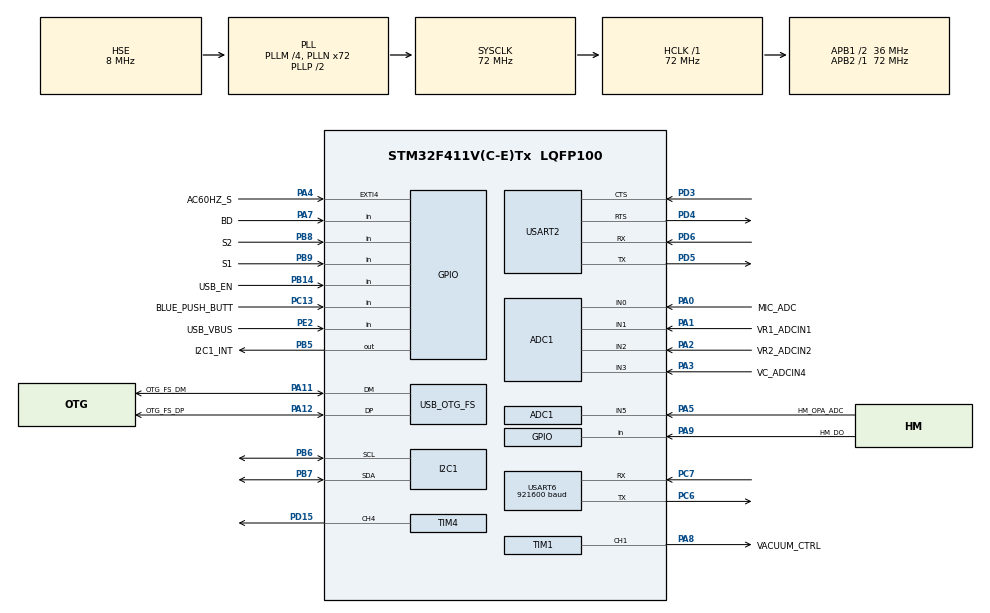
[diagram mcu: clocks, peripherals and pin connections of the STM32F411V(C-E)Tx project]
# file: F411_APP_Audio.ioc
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ADC1.Channel-4\#ChannelRegularConversion=ADC_CHANNEL_0
ADC1.ContinuousConvMode=DISABLE
ADC1.DMAContinuousRequests=ENABLE
ADC1.ExternalTrigConv=ADC_EXTERNALTRIGCONV_T4_CC4
ADC1.NbrOfConversionFlag=1
ADC1.Rank-4\#ChannelRegularConversion=1
ADC1.SamplingTime-4\#ChannelRegularConversion=ADC_SAMPLETIME_3CYCLES
ADC1.master=1
Dma.ADC1.0.Direction=DMA_PERIPH_TO_MEMORY
Dma.ADC1.0.FIFOMode=DMA_FIFOMODE_DISABLE
Dma.ADC1.0.Instance=DMA2_Stream0
Dma.ADC1.0.MemDataAlignment=DMA_MDATAALIGN_HALFWORD
Dma.ADC1.0.MemInc=DMA_MINC_ENABLE
Dma.ADC1.0.Mode=DMA_CIRCULAR
Dma.ADC1.0.PeriphDataAlignment=DMA_PDATAALIGN_HALFWORD
Dma.ADC1.0.PeriphInc=DMA_PINC_DISABLE
Dma.ADC1.0.Priority=DMA_PRIORITY_LOW
Dma.Request0=ADC1
Mcu.Family=STM32F4
Mcu.Name=STM32F411V(C-E)Tx
Mcu.Package=LQFP100
NVIC.DMA2_Stream0_IRQn=true\:0\:0\:false\:false\:true\:false\:true\:true
NVIC.OTG_FS_IRQn=true\:0\:0\:false\:false\:true\:false\:true\:true
NVIC.PriorityGroup=NVIC_PRIORITYGROUP_0
NVIC.TIM4_IRQn=true\:0\:0\:false\:false\:true\:true\:true\:true
PA0-WKUP.GPIO_Label=MIC_ADC
PA0-WKUP.Signal=ADCx_IN0
PA1.GPIO_Label=VR1_ADCIN1
PA1.Signal=ADCx_IN1
PA11.GPIO_Label=OTG_FS_DM
PA11.Mode=Device_Only
PA11.Signal=USB_OTG_FS_DM
PA12.GPIO_Label=OTG_FS_DP
PA12.Mode=Device_Only
PA12.Signal=USB_OTG_FS_DP
PA13.GPIO_Label=SWDIO
PA13.Mode=Serial_Wire
PA13.Signal=SYS_JTMS-SWDIO
PA14.GPIO_Label=SWCLK
PA14.Mode=Serial_Wire
PA14.Signal=SYS_JTCK-SWCLK
PA2.GPIO_Label=VR2_ADCIN2
PA2.Signal=ADCx_IN2
PA3.GPIO_Label=VC_ADCIN4
PA3.Signal=ADCx_IN3
PA4.GPIO_Label=AC60HZ_S
PA4.Signal=GPXTI4
PA5.GPIO_Label=HM_OPA_ADC
PA5.Signal=ADCx_IN5
PA7.GPIO_Label=BD
PA7.Signal=GPIO_Input
PA8.GPIO_Label=VACUUM_CTRL
PA8.Signal=S_TIM1_CH1
PA9.GPIO_Label=HM_DO
PA9.Signal=GPIO_Input
PB14.GPIO_Label=USB_EN
PB14.GPIO_PuPd=GPIO_PULLUP
PB14.Signal=GPIO_Input
PB3.GPIO_Label=SWO
PB3.Signal=SYS_JTDO-SWO
PB5.GPIO_Label=I2C1_INT
PB5.Signal=GPIO_Output
PB6.Mode=I2C
PB6.Signal=I2C1_SCL
PB7.Mode=I2C
PB7.Signal=I2C1_SDA
PB8.GPIO_Label=S2
PB8.Signal=GPIO_Input
PB9.GPIO_Label=S1
PB9.Signal=GPIO_Input
PC13-ANTI_TAMP.GPIO_Label=BLUE_PUSH_BUTT
PC13-ANTI_TAMP.Signal=GPIO_Input
PC6.Mode=Asynchronous
PC6.Signal=USART6_TX
PC7.Mode=Asynchronous
PC7.Signal=USART6_RX
PD15.Signal=S_TIM4_CH4
PD3.Mode=CTS_RTS
PD3.Signal=USART2_CTS
PD4.Mode=CTS_RTS
PD4.Signal=USART2_RTS
PD5.Mode=Asynchronous
PD5.Signal=USART2_TX
PD6.Mode=Asynchronous
PD6.Signal=USART2_RX
PE2.GPIO_Label=USB_VBUS
PE2.Signal=GPIO_Input
PH0\ -\ OSC_IN.GPIO_Label=PH0-OSC_IN
PH0\ -\ OSC_IN.Mode=HSE-External-Oscillator
PH0\ -\ OSC_IN.Signal=RCC_OSC_IN
PH1\ -\ OSC_OUT.GPIO_Label=PH1-OSC_OUT
PH1\ -\ OSC_OUT.Mode=HSE-External-Oscillator
PH1\ -\ OSC_OUT.Signal=RCC_OSC_OUT
ProjectManager.HeapSize=0x200
ProjectManager.StackSize=0x400
ProjectManager.TargetToolchain=STM32CubeIDE
RCC.48MHZClocksFreq_Value=48000000
RCC.AHBFreq_Value=72000000
RCC.APB1CLKDivider=RCC_HCLK_DIV2
RCC.APB1Freq_Value=36000000
RCC.APB1TimFreq_Value=72000000
RCC.APB2Freq_Value=72000000
RCC.APB2TimFreq_Value=72000000
RCC.CortexFreq_Value=72000000
RCC.HCLKFreq_Value=72000000
RCC.HSE_VALUE=8000000
RCC.HSI_VALUE=16000000
RCC.LSE_VALUE=32768
RCC.PLLI2SM=5
RCC.PLLI2SN=200
RCC.PLLM=4
RCC.PLLN=72
RCC.PLLQ=3
RCC.SYSCLKFreq_VALUE=72000000
RCC.SYSCLKSource=RCC_SYSCLKSOURCE_PLLCLK
RCC.VCOOutputFreq_Value=144000000
SH.ADCx_IN0.0=ADC1_IN0,IN0
SH.ADCx_IN1.0=ADC1_IN1,IN1
SH.ADCx_IN2.0=ADC1_IN2,IN2
SH.ADCx_IN3.0=ADC1_IN3,IN3
SH.ADCx_IN5.0=ADC1_IN5,IN5
SH.S_TIM1_CH1.0=TIM1_CH1,PWM Generation1 CH1
SH.S_TIM4_CH4.0=TIM4_CH4,Output Compare4 CH4
TIM1.Channel-PWM\ Generation1\ CH1=TIM_CHANNEL_1
TIM1.Period=1000-1
TIM1.Prescaler=72-1
TIM1.Pulse-PWM\ Generation1\ CH1=500
TIM4.Channel-Output\ Compare4\ CH4=TIM_CHANNEL_4
TIM4.OCMode_4=TIM_OCMODE_TOGGLE
TIM4.Period=63-1
TIM4.Prescaler=72-1
TIM4.Pulse-Output\ Compare4\ CH4=31
TIM4.TIM_MasterOutputTrigger=TIM_TRGO_UPDATE
USART2.VirtualMode=VM_ASYNC
USART6.BaudRate=921600
USART6.VirtualMode=VM_ASYNC
USB_DEVICE.CLASS_NAME_FS=HID
USB_DEVICE.MANUFACTURER_STRING=EETI_HID_DEVICE
USB_DEVICE.PID_HID_FS=0xC000
USB_DEVICE.PRODUCT_STRING_HID_FS=EETI_HID_DEVICE
USB_DEVICE.VID=0x0EFF
USB_DEVICE.VirtualMode=Hid
USB_DEVICE.VirtualModeFS=Hid_FS
USB_OTG_FS.VirtualMode=Device_Only
VP_TIM1_VS_ClockSourceINT.Mode=Internal
VP_TIM4_VS_ClockSourceINT.Mode=Internal
VP_USB_DEVICE_VS_USB_DEVICE_HID_FS.Mode=HID_FS
board=STM32F411E-DISCO

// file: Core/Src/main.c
/* USER CODE BEGIN Header */
/**
  ******************************************************************************
  * @file           : main.c
  * @brief          : Main program body
  ******************************************************************************
  * @attention
  *
  * Copyright (c) 2025 STMicroelectronics.
  * All rights reserved.
  *
  * This software is licensed under terms that can be found in the LICENSE file
  * in the root directory of this software component.
  * If no LICENSE file comes with this software, it is provided AS-IS.
  *
  ******************************************************************************
  */
/* USER CODE END Header */
#include "main.h"
#include "adc.h"
#include "dma.h"
#include "i2c.h"
#include "tim.h"
#include "usart.h"
#include "usb_device.h"
#include "gpio.h"

/* USER CODE BEGIN Includes */
#include <stdio.h>
#include <string.h>

#include "ssd1306.h"
#include "ssd1306_fonts.h"

/* USER CODE END Includes */

void SystemClock_Config(void);

/* USER CODE BEGIN 0 */
int _write(int file, char *ptr, int len)
{
    // 使用 10ms 超時，失敗也返回成功
    HAL_UART_Transmit(DEBUG_UART_PORT, (uint8_t*)ptr, len, 10);
    return len;  // 總是返回成功
}

// === ADC DMA 相關 ===
#define ADC_BUF_SIZE 1024
uint16_t adc_dma_buf[ADC_BUF_SIZE];
volatile uint8_t adc_data_ready = 0;
volatile uint32_t adc_sum = 0;
volatile uint16_t adc_count = 0;

// 配置參數
#define SAMPLE_RATE     16000  // 16kHz 採樣率
#define FRAME_SIZE      512    // 每幀數據大小
#define BUFFER_SIZE     1024   // 雙緩衝區
#define TX_BUFFER_SIZE  (4 + FRAME_SIZE*2 + 2)  // 幀頭(4) + 數據(FRAME_SIZE*2) + 校驗和(2)
// 全局變量
uint16_t adc_buffer[BUFFER_SIZE];  // DMA 雙緩衝
volatile uint8_t buffer_half = 0;   // 緩衝區標誌
volatile uint8_t buffer_full = 0;   // 緩衝區標誌
uint8_t tx_buffer[TX_BUFFER_SIZE];  // UART 發送緩衝區

// UART 發送函數
HAL_StatusTypeDef UART_SendData(uint8_t* data, uint16_t size)
{
    return HAL_UART_Transmit(&huart6, data, size, 100);  // 100ms 超時
}

// 數據處理函數
void ProcessAudioData(uint16_t* data, uint16_t size)
{
    static uint32_t frame_count = 0;
    frame_count++;

    // 簡單的 DC 偏移去除
    int32_t sum = 0;
    for(int i = 0; i < size; i++)
    {
        sum += data[i];
    }
    int16_t dc_offset = sum / size;

    // 幀頭
    tx_buffer[0] = 0xAA;
    tx_buffer[1] = 0x55;
    tx_buffer[2] = size & 0xFF;
    tx_buffer[3] = (size >> 8) & 0xFF;

    // 數據
    uint16_t checksum = 0;
    for(int i = 0; i < size; i++)
    {
        int16_t sample = data[i] - dc_offset;
        checksum += sample;
        tx_buffer[4 + i*2] = sample & 0xFF;
        tx_buffer[4 + i*2 + 1] = (sample >> 8) & 0xFF;
    }

    // 校驗和
    tx_buffer[4 + size*2] = checksum & 0xFF;
    tx_buffer[4 + size*2 + 1] = (checksum >> 8) & 0xFF;

    // 發送數據
    if(UART_SendData(tx_buffer, TX_BUFFER_SIZE) != HAL_OK)
    {
        // 可以添加 LED 閃爍來指示傳輸錯誤
        Error_Handler();
    }
}

// ADC DMA 回調
void HAL_ADC_ConvHalfCpltCallback(ADC_HandleTypeDef* hadc)
{
    if(hadc->Instance == ADC1)
    {
        buffer_half = 1;
    }
}

void HAL_ADC_ConvCpltCallback(ADC_HandleTypeDef* hadc)
{
    if(hadc->Instance == ADC1)
    {
        buffer_full = 1;
    }
}

/* USER CODE END 0 */

int main(void)
{

  /* USER CODE BEGIN 1 */
    // 設置向量表到APP區域
  SCB->VTOR = 0x08008000;
  __disable_irq();
  /* USER CODE END 1 */

  /* MCU Configuration--------------------------------------------------------*/

  /* Reset of all peripherals, Initializes the Flash interface and the Systick. */
  HAL_Init();

  /* USER CODE BEGIN Init */
  __enable_irq();
  /* USER CODE END Init */

  /* Configure the system clock */
  SystemClock_Config();

  /* Initialize all configured peripherals */
  MX_GPIO_Init();
  MX_DMA_Init();
  MX_ADC1_Init();
  MX_I2C1_Init();
  MX_TIM1_Init();
  MX_USART2_UART_Init();
  MX_TIM4_Init();
  MX_USB_DEVICE_Init();
  MX_USART6_UART_Init();
  /* USER CODE BEGIN 2 */
  // 🔧 簡化測試：先測試基本功能
  printf("=== APP STARTED ===\r\n");

  // 測試 LED（PA5 是板載 LED）
  GPIO_InitTypeDef GPIO_InitStruct = {0};
  GPIO_InitStruct.Pin = HM_OPA_ADC_Pin;
  GPIO_InitStruct.Mode = GPIO_MODE_OUTPUT_PP;
  GPIO_InitStruct.Pull = GPIO_NOPULL;
  GPIO_InitStruct.Speed = GPIO_SPEED_FREQ_LOW;
  HAL_GPIO_Init(HM_OPA_ADC_GPIO_Port, &GPIO_InitStruct);
  HAL_GPIO_WritePin(HM_OPA_ADC_GPIO_Port, HM_OPA_ADC_Pin, GPIO_PIN_SET);
  HAL_Delay(500);
  HAL_GPIO_WritePin(HM_OPA_ADC_GPIO_Port, HM_OPA_ADC_Pin, GPIO_PIN_RESET);

  printf("LED Test completed\r\n");

  /* 初始化SSD1306 */
  char buf[32];
  printf("ssd1306_Init...\r\n");
  ssd1306_Init();

  ssd1306_Fill(Black);
  ssd1306_SetCursor(0, 0);
  ssd1306_WriteString("ssd1306_Init OK!!", Font_6x8, White);
  ssd1306_UpdateScreen();

  /* USER CODE END 2 */

  /* Infinite loop */
  /* USER CODE BEGIN WHILE */

  uint32_t Counter = 0;

  // 啟動 ADC DMA
  if(HAL_ADC_Start_DMA(&hadc1, (uint32_t*)adc_buffer, BUFFER_SIZE) != HAL_OK)
  {
      Error_Handler();
  }

  // 啟動定時器基礎功能
  if (HAL_TIM_Base_Start(&htim4) != HAL_OK)
  {
      Error_Handler();
  }

  // 啟動定時器
  if(HAL_TIM_OC_Start(&htim4, TIM_CHANNEL_4) != HAL_OK)
  {
      Error_Handler();
  }

  // 發送啟動消息
  uint8_t start_msg[] = "Audio Sampling Start\r\n";
  HAL_UART_Transmit(&huart6, start_msg, sizeof(start_msg)-1, 100);

  while (1)
  {
      if(buffer_half)
      {
    	  //printf("adc_buffer[0]: %d\r\n", adc_buffer[0]);
          ProcessAudioData(&adc_buffer[0], FRAME_SIZE);
          buffer_half = 0;
      }

      if(buffer_full)
      {
    	  //printf("adc_buffer[10]: %d\r\n", adc_buffer[10]);
          ProcessAudioData(&adc_buffer[FRAME_SIZE], FRAME_SIZE);
          buffer_full = 0;
      }

      //HAL_GPIO_TogglePin(HM_OPA_ADC_Pin, HM_OPA_ADC_Pin);  // 假設 PC13 是板載 LED
      //HAL_Delay(100);  // LED 閃爍頻率
    /* USER CODE END WHILE */

  }
}

void SystemClock_Config(void)
{
  RCC_OscInitTypeDef RCC_OscInitStruct = {0};
  RCC_ClkInitTypeDef RCC_ClkInitStruct = {0};

  /** Configure the main internal regulator output voltage
  */
  __HAL_RCC_PWR_CLK_ENABLE();
  __HAL_PWR_VOLTAGESCALING_CONFIG(PWR_REGULATOR_VOLTAGE_SCALE1);

  /** Initializes the RCC Oscillators according to the specified parameters
  * in the RCC_OscInitTypeDef structure.
  */
  RCC_OscInitStruct.OscillatorType = RCC_OSCILLATORTYPE_HSE;
  RCC_OscInitStruct.HSEState = RCC_HSE_ON;
  RCC_OscInitStruct.PLL.PLLState = RCC_PLL_ON;
  RCC_OscInitStruct.PLL.PLLSource = RCC_PLLSOURCE_HSE;
  RCC_OscInitStruct.PLL.PLLM = 4;
  RCC_OscInitStruct.PLL.PLLN = 72;
  RCC_OscInitStruct.PLL.PLLP = RCC_PLLP_DIV2;
  RCC_OscInitStruct.PLL.PLLQ = 3;
  if (HAL_RCC_OscConfig(&RCC_OscInitStruct) != HAL_OK)
  {
    Error_Handler();
  }

  /** Initializes the CPU, AHB and APB buses clocks
  */
  RCC_ClkInitStruct.ClockType = RCC_CLOCKTYPE_HCLK|RCC_CLOCKTYPE_SYSCLK
                              |RCC_CLOCKTYPE_PCLK1|RCC_CLOCKTYPE_PCLK2;
  RCC_ClkInitStruct.SYSCLKSource = RCC_SYSCLKSOURCE_PLLCLK;
  RCC_ClkInitStruct.AHBCLKDivider = RCC_SYSCLK_DIV1;
  RCC_ClkInitStruct.APB1CLKDivider = RCC_HCLK_DIV2;
  RCC_ClkInitStruct.APB2CLKDivider = RCC_HCLK_DIV1;

  if (HAL_RCC_ClockConfig(&RCC_ClkInitStruct, FLASH_LATENCY_2) != HAL_OK)
  {
    Error_Handler();
  }
}

void Error_Handler(void)
{
  __disable_irq();
  while (1)
  {
  }
}
